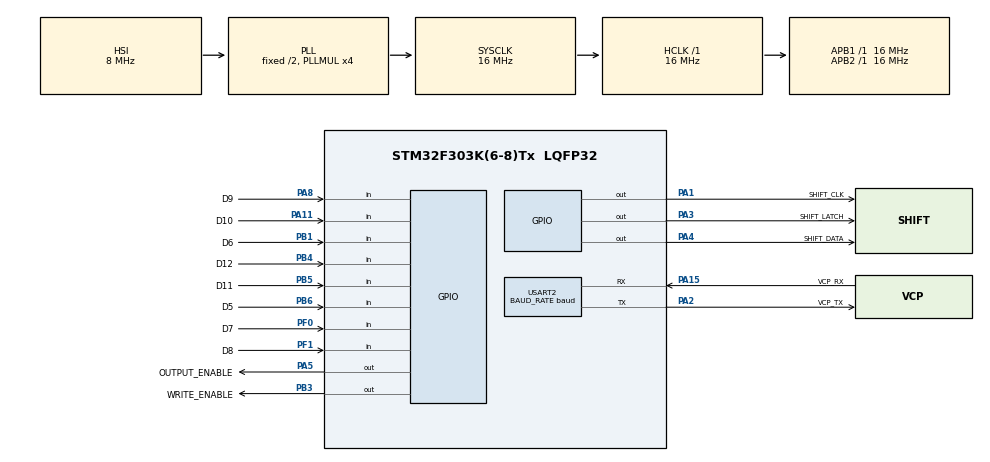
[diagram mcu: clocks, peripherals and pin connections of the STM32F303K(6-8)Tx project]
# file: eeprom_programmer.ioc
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Mcu.Family=STM32F3
Mcu.Name=STM32F303K(6-8)Tx
Mcu.Package=LQFP32
Mcu.UserConstants=BAUD_RATE,9600
NVIC.PriorityGroup=NVIC_PRIORITYGROUP_4
NVIC.USART2_IRQn=true\:0\:0\:false\:false\:true\:true\:true\:true
PA1.GPIO_Label=SHIFT_CLK
PA1.Signal=GPIO_Output
PA11.GPIO_Label=D10
PA11.Signal=GPIO_Input
PA13.GPIO_Label=SWDIO
PA13.Mode=Serial_Wire
PA13.Signal=SYS_JTMS-SWDIO
PA14.GPIO_Label=SWCLK
PA14.Mode=Serial_Wire
PA14.Signal=SYS_JTCK-SWCLK
PA15.GPIO_Label=VCP_RX
PA15.Mode=Asynchronous
PA15.Signal=USART2_RX
PA2.GPIO_Label=VCP_TX
PA2.Mode=Asynchronous
PA2.Signal=USART2_TX
PA3.GPIO_Label=SHIFT_LATCH
PA3.Signal=GPIO_Output
PA4.GPIO_Label=SHIFT_DATA
PA4.Signal=GPIO_Output
PA5.GPIO_Label=OUTPUT_ENABLE
PA5.Signal=GPIO_Output
PA8.GPIO_Label=D9
PA8.Signal=GPIO_Input
PB1.GPIO_Label=D6
PB1.Signal=GPIO_Input
PB3.GPIO_Label=WRITE_ENABLE
PB3.PinState=GPIO_PIN_SET
PB3.Signal=GPIO_Output
PB4.GPIO_Label=D12
PB4.Signal=GPIO_Input
PB5.GPIO_Label=D11
PB5.Signal=GPIO_Input
PB6.GPIO_Label=D5
PB6.Signal=GPIO_Input
PF0\ /\ OSC_IN.GPIO_Label=D7
PF0\ /\ OSC_IN.Signal=GPIO_Input
PF1\ /\ OSC_OUT.GPIO_Label=D8
PF1\ /\ OSC_OUT.Signal=GPIO_Input
ProjectManager.HeapSize=0x200
ProjectManager.StackSize=0x400
ProjectManager.TargetToolchain=STM32CubeIDE
RCC.AHBFreq_Value=16000000
RCC.APB1Freq_Value=16000000
RCC.APB1TimFreq_Value=16000000
RCC.APB2Freq_Value=16000000
RCC.APB2TimFreq_Value=16000000
RCC.CortexFreq_Value=16000000
RCC.HCLKFreq_Value=16000000
RCC.HSE_VALUE=8000000
RCC.HSI_VALUE=8000000
RCC.PLLMUL=RCC_PLL_MUL4
RCC.SYSCLKFreq_VALUE=16000000
RCC.SYSCLKSourceVirtual=RCC_SYSCLKSOURCE_PLLCLK
USART2.BaudRate=BAUD_RATE
USART2.VirtualMode-Asynchronous=VM_ASYNC
board=NUCLEO-F303K8

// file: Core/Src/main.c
/* USER CODE BEGIN Header */
/**
  ******************************************************************************
  * @file           : main.c
  * @brief          : Main program body
  ******************************************************************************
  * @attention
  *
  * Copyright (c) 2024 STMicroelectronics.
  * All rights reserved.
  *
  * This software is licensed under terms that can be found in the LICENSE file
  * in the root directory of this software component.
  * If no LICENSE file comes with this software, it is provided AS-IS.
  *
  ******************************************************************************
  */
/* USER CODE END Header */
#include "main.h"

/* USER CODE BEGIN Includes */

#include "circ_buf.h"
#include "uart_rx.h"
#include "eeprom.h"
#include "pin_manipulation.h"
#include "print.h" // UART printf() and debugf()
#include <stdint.h>
#include <string.h>

/* USER CODE END Includes */

/* USER CODE BEGIN PTD */

typedef enum system_state {
  STARTUP_STATE,
  INSTRUCTION_STATE,
  ADDRESS_STATE,
  DATA_STATE,
  SINGLE_READ_STATE,
  SINGLE_WRITE_STATE,
  MULTI_READ_STATE,
  MULTI_WRITE_STATE,
} system_state_t;

/* USER CODE END PTD */

UART_HandleTypeDef huart2;

/* USER CODE BEGIN PV */

char printf_buffer[PRINTF_BUF_SIZE] = ""; // For print.h

uart_rx_handle_t uart_rx;
circ_buf_handle_t circ_buf;
eeprom_handle_t eeprom;

/* USER CODE END PV */

void SystemClock_Config(void);
static void MX_GPIO_Init(void);
static void MX_USART2_UART_Init(void);
/* USER CODE BEGIN PFP */

//* Private Helper Function Prototypes

static void print_status(uart_rx_status_t status);

/* USER CODE END PFP */

/* USER CODE BEGIN 0 */

//* State Event Handlers

system_state_t startup_state_handler(system_state_t system_state) {
  // Startup Delay
  HAL_Delay(500);

  // Startup Message
  uint8_t msg[UART_PACKET_SIZE] = "========== AT28C16 PROGRAMMER ==========\n";
  HAL_UART_Transmit(&huart2, (uint8_t*)msg, strlen((char*)msg), HAL_MAX_DELAY);

  // Init Circular Buffer Struct
  circ_buf = circ_buf_init(UART_PACKET_SIZE);

  // Init UART Rx Struct
  char delimiter = (char)' ';
  char terminator = (char)'\n';
  uart_rx = uart_rx_init(DATA_PACKET_SIZE, delimiter, terminator);

  // Init EEPROM Struct
  eeprom_t at28c16 = {
    .data_port = SHIFT_DATA_GPIO_Port,
    .data_pin = SHIFT_DATA_Pin,
    .clock_port = SHIFT_CLK_GPIO_Port,
    .clock_pin = SHIFT_CLK_Pin,
    .latch_port = SHIFT_LATCH_GPIO_Port,
    .latch_pin = SHIFT_LATCH_Pin,
    .mode = SINGLE_READ_MODE,
    .addresses = {0xFFF, 0xFFF},
  };
  eeprom = &at28c16;

  // UART Interrupt RX Setup
  HAL_UART_Receive_IT(&huart2, uart_rx_char(uart_rx), 1U);

  // Startup Delay
  HAL_Delay(500);

  printf("Enter Instruction:\n");
  return INSTRUCTION_STATE;
}

system_state_t instruction_state_handler(system_state_t system_state) {
  static uart_rx_status_t status = UART_RX_EMPTY;
  uart_rx_status_t new_status = uart_rx_parse_instruction(uart_rx, circ_buf);
  if (new_status == UART_RX_VALID_PACKET) {
    switch (uart_rx_instruction(uart_rx)) {
      case SINGLE_READ_INSTRUCTION:
        printf("--- Single-Byte Read ---\n");
        printf("Enter Address:\n");
        eeprom->mode = SINGLE_READ_MODE;
        return ADDRESS_STATE;
        break;

      case SINGLE_WRITE_INSTRUCTION:
        printf("--- Single-Byte Write ---\n");
        printf("Enter Address:\n");
        eeprom->mode = SINGLE_WRITE_MODE;
        return ADDRESS_STATE;
        break;

      case MULTI_READ_INSTRUCTION:
        printf("--- Multi-Byte Read ---\n");
        printf("Enter Addresses:\n");
        eeprom->mode = MULTI_READ_MODE;
        return ADDRESS_STATE;
        break;

      case MULTI_WRITE_INSTRUCTION:
        printf("--- Multi-Byte Write ---\n");
        printf("Enter Addresses:\n");
        eeprom->mode = MULTI_WRITE_MODE;
        return ADDRESS_STATE;
        break;

      default:
        new_status = UART_RX_INVALID_INSTRUCTION;
        print_status(new_status);
        break;
    }
  } else if ((new_status != UART_RX_EMPTY) && (new_status != status)) {
    print_status(new_status);
  }
  status = new_status;
  HAL_Delay(1000 / PACKET_POLLING_RATE);
  return INSTRUCTION_STATE;
}

system_state_t address_state_handler(system_state_t system_state) {
  static uart_rx_status_t status = UART_RX_EMPTY;
  uart_rx_status_t new_status = uart_rx_parse_address(uart_rx, circ_buf, eeprom, status);
  if (new_status == UART_RX_VALID_PACKET) {
    if ((eeprom->addresses[0] <= EEPROM_ADDRESS_MAX) && (eeprom->addresses[1] <= EEPROM_ADDRESS_MAX)) {
      switch (eeprom->mode) {
        case SINGLE_READ_MODE:
          return SINGLE_READ_STATE;
          break;

        case SINGLE_WRITE_MODE:
          printf("--- Writing Address %03X ---\n", eeprom->addresses[0] % 0x1000);
          printf("Enter Data:\n");
          return DATA_STATE;
          break;

        case MULTI_READ_MODE:
          return MULTI_READ_STATE;
          break;

        case MULTI_WRITE_MODE:
          printf("--- Writing Addresses %03X:%03X ---\n", eeprom->addresses[0] % 0x1000, eeprom->addresses[1] % 0x1000);
          printf("Enter Data:\n");
          return DATA_STATE;
          break;

        default:
          printf("Enter Instruction:\n");
          return INSTRUCTION_STATE;
          break;
      }
    } else {
      new_status = UART_RX_INVALID_ADDRESS;
      print_status(new_status);
    }
  } else if ((new_status != UART_RX_EMPTY) && (new_status != status)) {
    print_status(new_status);
  }
  status = new_status;
  HAL_Delay(1000 / PACKET_POLLING_RATE);
  return ADDRESS_STATE;
}

system_state_t data_state_handler(system_state_t system_state) {
  static uart_rx_status_t status = UART_RX_EMPTY;
  uart_rx_status_t new_status = uart_rx_parse_data(uart_rx, circ_buf, status);
  if (new_status == UART_RX_VALID_PACKET) {
    dump_hex(uart_rx_packet(uart_rx), uart_rx_size(uart_rx), 0x20); /* UNIT_TEST */
    switch (eeprom->mode) {
      case SINGLE_WRITE_MODE:
        return SINGLE_WRITE_STATE;
        break;

      case MULTI_WRITE_MODE:
        return MULTI_WRITE_STATE;
        break;

      default:
        printf("Enter Instruction:\n");
        return INSTRUCTION_STATE;
        break;
    }
  } else if ((new_status != UART_RX_EMPTY) && (new_status != status)) {
    print_status(new_status);
  }
  status = new_status;
  HAL_Delay(1000 / PACKET_POLLING_RATE);
  return DATA_STATE;
}

system_state_t single_read_state_handler(system_state_t system_state) {
  printf("--- Reading Address %03X ---\n", eeprom->addresses[0] % 0x1000);

  single_read(eeprom);

  printf("--- Read Complete ---\n");
  printf("Enter Instruction:\n");
  return INSTRUCTION_STATE;
}

system_state_t single_write_state_handler(system_state_t system_state) {
  printf("--- Writing Data ---\n");

  single_write(eeprom, *uart_rx_packet(uart_rx));

  printf("--- Write Complete ---\n");
  printf("Enter Instruction:\n");
  return INSTRUCTION_STATE;
}

system_state_t multi_read_state_handler(system_state_t system_state) {
  // If out of range, return to ADDRESS_STATE
  if (eeprom->addresses[1] <= eeprom->addresses[0]) {
    print_status(UART_RX_INVALID_RANGE);
    return ADDRESS_STATE;
  }
  printf("--- Reading Addresses %03X:%03X ---\n", eeprom->addresses[0] % 0x1000, eeprom->addresses[1] % 0x1000);

  multi_read(eeprom);

  printf("--- Read Complete ---\n");
  printf("Enter Instruction:\n");
  return INSTRUCTION_STATE;
}

system_state_t multi_write_state_handler(system_state_t system_state) {
  // If out of range, return to ADDRESS_STATE
  if (eeprom->addresses[1] <= eeprom->addresses[0]) {
    print_status(UART_RX_INVALID_RANGE);
    return ADDRESS_STATE;
  }
  printf("--- Writing Data ---\n");

  multi_write(eeprom, uart_rx_packet(uart_rx));

  printf("--- Write Complete ---\n");
  printf("Enter Instruction:\n");
  return INSTRUCTION_STATE;
}

//* Private Helper Functions

static void print_status(uart_rx_status_t status) {
  char status_msg[64] = "";
  switch (status) {
    case UART_RX_EMPTY:
      sprintf(status_msg, "Empty");
      break;
    case UART_RX_INVALID_FORMAT:
      sprintf(status_msg, "Invalid Format");
      break;
    case UART_RX_INVALID_DATA:
      sprintf(status_msg, "Invalid Data");
      break;
    case UART_RX_INVALID_RANGE:
      sprintf(status_msg, "Invalid Range");
      break;
    case UART_RX_INVALID_ADDRESS:
      sprintf(status_msg, "Invalid Address");
      break;
    case UART_RX_INVALID_INSTRUCTION:
      sprintf(status_msg, "Invalid Instruction");
      break;
    case UART_RX_VALID_PACKET:
      sprintf(status_msg, "Valid Packet");
      break;
    case UART_RX_VALID_DATA:
      sprintf(status_msg, "Valid Data");
      break;
  }
  printf("%02d: %s\n", (int)status, (uint8_t*)status_msg);
}

/* USER CODE END 0 */

int main(void)
{

  /* MCU Configuration--------------------------------------------------------*/

  /* Reset of all peripherals, Initializes the Flash interface and the Systick. */
  HAL_Init();

  /* Configure the system clock */
  SystemClock_Config();

  /* Initialize all configured peripherals */
  MX_GPIO_Init();
  MX_USART2_UART_Init();
  /* USER CODE BEGIN 2 */

  //* Next State Variable
  system_state_t system_state = STARTUP_STATE;

  /* USER CODE END 2 */

  /* Infinite loop */
  while (1) {

    /* USER CODE BEGIN 3 */

    //* State Handlers
    // Perform functions for given state, then return the value of the next state
    switch (system_state) {
      case STARTUP_STATE:
        system_state = startup_state_handler(system_state);
        break;
      case INSTRUCTION_STATE:
        system_state = instruction_state_handler(system_state);
        break;
      case ADDRESS_STATE:
        system_state = address_state_handler(system_state);
        break;
      case DATA_STATE:
        system_state = data_state_handler(system_state);
        break;
      case SINGLE_READ_STATE:
        system_state = single_read_state_handler(system_state);
        break;
      case SINGLE_WRITE_STATE:
        system_state = single_write_state_handler(system_state);
        break;
      case MULTI_READ_STATE:
        system_state = multi_read_state_handler(system_state);
        break;
      case MULTI_WRITE_STATE:
        system_state = multi_write_state_handler(system_state);
        break;

      default:
        system_state = startup_state_handler(system_state);
        break;
    }
  }

  /* USER CODE END 3 */
}

void SystemClock_Config(void)
{
  RCC_OscInitTypeDef RCC_OscInitStruct = {0};
  RCC_ClkInitTypeDef RCC_ClkInitStruct = {0};

  /** Initializes the RCC Oscillators according to the specified parameters
  * in the RCC_OscInitTypeDef structure.
  */
  RCC_OscInitStruct.OscillatorType = RCC_OSCILLATORTYPE_HSI;
  RCC_OscInitStruct.HSIState = RCC_HSI_ON;
  RCC_OscInitStruct.HSICalibrationValue = RCC_HSICALIBRATION_DEFAULT;
  RCC_OscInitStruct.PLL.PLLState = RCC_PLL_ON;
  RCC_OscInitStruct.PLL.PLLSource = RCC_PLLSOURCE_HSI;
  RCC_OscInitStruct.PLL.PLLMUL = RCC_PLL_MUL4;
  if (HAL_RCC_OscConfig(&RCC_OscInitStruct) != HAL_OK)
  {
    Error_Handler();
  }

  /** Initializes the CPU, AHB and APB buses clocks
  */
  RCC_ClkInitStruct.ClockType = RCC_CLOCKTYPE_HCLK|RCC_CLOCKTYPE_SYSCLK
                              |RCC_CLOCKTYPE_PCLK1|RCC_CLOCKTYPE_PCLK2;
  RCC_ClkInitStruct.SYSCLKSource = RCC_SYSCLKSOURCE_PLLCLK;
  RCC_ClkInitStruct.AHBCLKDivider = RCC_SYSCLK_DIV1;
  RCC_ClkInitStruct.APB1CLKDivider = RCC_HCLK_DIV1;
  RCC_ClkInitStruct.APB2CLKDivider = RCC_HCLK_DIV1;

  if (HAL_RCC_ClockConfig(&RCC_ClkInitStruct, FLASH_LATENCY_0) != HAL_OK)
  {
    Error_Handler();
  }
}

static void MX_USART2_UART_Init(void)
{

  huart2.Instance = USART2;
  huart2.Init.BaudRate = BAUD_RATE;
  huart2.Init.WordLength = UART_WORDLENGTH_8B;
  huart2.Init.StopBits = UART_STOPBITS_1;
  huart2.Init.Parity = UART_PARITY_NONE;
  huart2.Init.Mode = UART_MODE_TX_RX;
  huart2.Init.HwFlowCtl = UART_HWCONTROL_NONE;
  huart2.Init.OverSampling = UART_OVERSAMPLING_16;
  huart2.Init.OneBitSampling = UART_ONE_BIT_SAMPLE_DISABLE;
  huart2.AdvancedInit.AdvFeatureInit = UART_ADVFEATURE_NO_INIT;
  if (HAL_UART_Init(&huart2) != HAL_OK)
  {
    Error_Handler();
  }

}

static void MX_GPIO_Init(void)
{
  GPIO_InitTypeDef GPIO_InitStruct = {0};

  /* GPIO Ports Clock Enable */
  __HAL_RCC_GPIOF_CLK_ENABLE();
  __HAL_RCC_GPIOA_CLK_ENABLE();
  __HAL_RCC_GPIOB_CLK_ENABLE();

  /*Configure GPIO pin Output Level */
  HAL_GPIO_WritePin(GPIOA, SHIFT_CLK_Pin|SHIFT_LATCH_Pin|SHIFT_DATA_Pin|OUTPUT_ENABLE_Pin, GPIO_PIN_RESET);

  /*Configure GPIO pin Output Level */
  HAL_GPIO_WritePin(WRITE_ENABLE_GPIO_Port, WRITE_ENABLE_Pin, GPIO_PIN_SET);

  /*Configure GPIO pins : D7_Pin D8_Pin */
  GPIO_InitStruct.Pin = D7_Pin|D8_Pin;
  GPIO_InitStruct.Mode = GPIO_MODE_INPUT;
  GPIO_InitStruct.Pull = GPIO_NOPULL;
  HAL_GPIO_Init(GPIOF, &GPIO_InitStruct);

  /*Configure GPIO pins : SHIFT_CLK_Pin SHIFT_LATCH_Pin SHIFT_DATA_Pin OUTPUT_ENABLE_Pin */
  GPIO_InitStruct.Pin = SHIFT_CLK_Pin|SHIFT_LATCH_Pin|SHIFT_DATA_Pin|OUTPUT_ENABLE_Pin;
  GPIO_InitStruct.Mode = GPIO_MODE_OUTPUT_PP;
  GPIO_InitStruct.Pull = GPIO_NOPULL;
  GPIO_InitStruct.Speed = GPIO_SPEED_FREQ_LOW;
  HAL_GPIO_Init(GPIOA, &GPIO_InitStruct);

  /*Configure GPIO pins : D6_Pin D12_Pin D11_Pin D5_Pin */
  GPIO_InitStruct.Pin = D6_Pin|D12_Pin|D11_Pin|D5_Pin;
  GPIO_InitStruct.Mode = GPIO_MODE_INPUT;
  GPIO_InitStruct.Pull = GPIO_NOPULL;
  HAL_GPIO_Init(GPIOB, &GPIO_InitStruct);

  /*Configure GPIO pins : D9_Pin D10_Pin */
  GPIO_InitStruct.Pin = D9_Pin|D10_Pin;
  GPIO_InitStruct.Mode = GPIO_MODE_INPUT;
  GPIO_InitStruct.Pull = GPIO_NOPULL;
  HAL_GPIO_Init(GPIOA, &GPIO_InitStruct);

  /*Configure GPIO pin : WRITE_ENABLE_Pin */
  GPIO_InitStruct.Pin = WRITE_ENABLE_Pin;
  GPIO_InitStruct.Mode = GPIO_MODE_OUTPUT_PP;
  GPIO_InitStruct.Pull = GPIO_NOPULL;
  GPIO_InitStruct.Speed = GPIO_SPEED_FREQ_LOW;
  HAL_GPIO_Init(WRITE_ENABLE_GPIO_Port, &GPIO_InitStruct);

}

/* USER CODE BEGIN 4 */

/**
 * @brief UART Interrupt Callback
 * @param huart HAL UART Structure handle
 */
void HAL_UART_RxCpltCallback(UART_HandleTypeDef *huart) {
  circ_buf_write_ov_byte(circ_buf, *(uart_rx_char(uart_rx)));

  // Reactivate UART Interrupt RX
  HAL_UART_Receive_IT(huart, uart_rx_char(uart_rx), 1U);
}

/* USER CODE END 4 */

void Error_Handler(void)
{
  __disable_irq();
  while (1)
  {
  }
}
